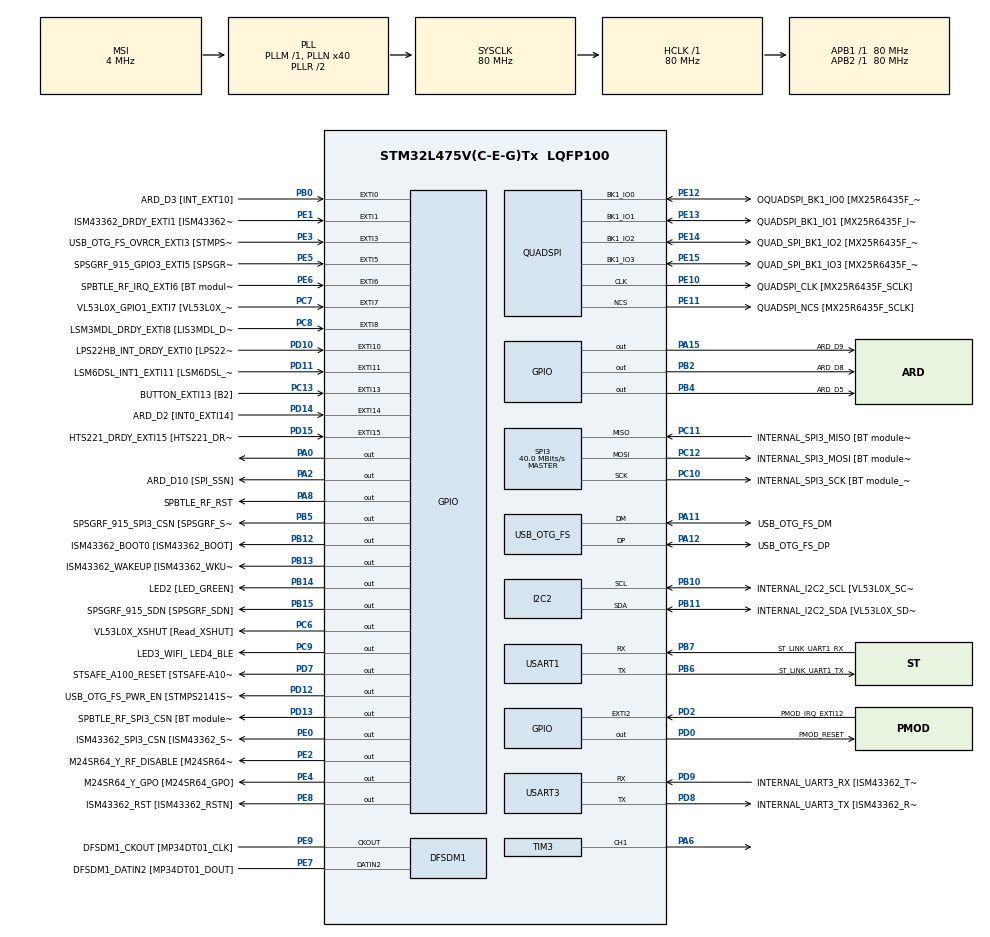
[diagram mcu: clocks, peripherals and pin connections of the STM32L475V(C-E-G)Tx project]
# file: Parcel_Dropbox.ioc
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Mcu.Family=STM32L4
Mcu.Name=STM32L475V(C-E-G)Tx
Mcu.Package=LQFP100
NVIC.EXTI15_10_IRQn=true\:6\:0\:true\:false\:true\:true\:true\:true
NVIC.EXTI1_IRQn=true\:0\:0\:false\:false\:true\:true\:true\:true
NVIC.EXTI9_5_IRQn=true\:0\:0\:false\:false\:true\:true\:true\:true
NVIC.PriorityGroup=NVIC_PRIORITYGROUP_4
NVIC.TIM6_DAC_IRQn=true\:15\:0\:false\:false\:true\:false\:true\:true
NVIC.TimeBase=TIM6_DAC_IRQn
NVIC.TimeBaseIP=TIM6
PA0.Signal=GPIO_Output
PA1.GPIO_Label=ARD_D0 [UART4_RX]
PA1.Signal=UART4_RX
PA10.GPIO_Label=USB_OTG_FS_ID
PA10.Signal=USB_OTG_FS_ID
PA11.GPIO_Label=USB_OTG_FS_DM
PA11.Mode=Device_Only
PA11.Signal=USB_OTG_FS_DM
PA12.GPIO_Label=USB_OTG_FS_DP
PA12.Mode=Device_Only
PA12.Signal=USB_OTG_FS_DP
PA13\ (JTMS-SWDIO).GPIO_Label=SYS_JTMS_SWDIO
PA13\ (JTMS-SWDIO).Mode=Trace_Asynchronous_SW
PA13\ (JTMS-SWDIO).Signal=SYS_JTMS-SWDIO
PA14\ (JTCK-SWCLK).GPIO_Label=SYS_JTCK_SWCLK
PA14\ (JTCK-SWCLK).Mode=Trace_Asynchronous_SW
PA14\ (JTCK-SWCLK).Signal=SYS_JTCK-SWCLK
PA15\ (JTDI).GPIO_Label=ARD_D9
PA15\ (JTDI).Signal=GPIO_Output
PA2.GPIO_Label=ARD_D10 [SPI_SSN]
PA2.Signal=GPIO_Output
PA3.GPIO_Label=ARD_D4
PA3.Signal=S_TIM2_CH4
PA4.GPIO_Label=ARD_D7
PA4.Signal=ADCx_IN9
PA5.GPIO_Label=ARD_D13 [SPI1_SCK]
PA5.Signal=SPI1_SCK
PA6.GPIO_Speed=GPIO_SPEED_FREQ_HIGH
PA6.Signal=S_TIM3_CH1
PA7.GPIO_Label=ARD_D11 [SPI1_MOSI]
PA7.Signal=SPI1_MOSI
PA8.GPIO_Label=SPBTLE_RF_RST
PA8.Signal=GPIO_Output
PA9.GPIO_Label=USB_OTG_FS_VBUS [STMPS2141STR_OUT]
PA9.Signal=USB_OTG_FS_VBUS
PB0.GPIO_Label=ARD_D3 [INT_EXT10]
PB0.Signal=GPXTI0
PB1.GPIO_Label=ARD_D6 [ADC1_IN6]
PB1.Signal=ADCx_IN16
PB10.GPIO_Label=INTERNAL_I2C2_SCL [VL53L0X_SCL]
PB10.GPIO_Pu=GPIO_PULLUP
PB10.Mode=I2C
PB10.Signal=I2C2_SCL
PB11.GPIO_Label=INTERNAL_I2C2_SDA [VL53L0X_SDA]
PB11.GPIO_Pu=GPIO_PULLUP
PB11.Mode=I2C
PB11.Signal=I2C2_SDA
PB12.GPIO_Label=ISM43362_BOOT0 [ISM43362_BOOT]
PB12.Signal=GPIO_Output
PB13.GPIO_Label=ISM43362_WAKEUP [ISM43362_WKUP]
PB13.Signal=GPIO_Output
PB14.GPIO_Label=LED2 [LED_GREEN]
PB14.Signal=GPIO_Output
PB15.GPIO_Label=SPSGRF_915_SDN [SPSGRF_SDN]
PB15.Signal=GPIO_Output
PB2.GPIO_Label=ARD_D8
PB2.Signal=GPIO_Output
PB3\ (JTDO-TRACESWO).GPIO_Label=SYS_JTD0_SWO
PB3\ (JTDO-TRACESWO).Mode=Trace_Asynchronous_SW
PB3\ (JTDO-TRACESWO).Signal=SYS_JTDO-SWO
PB4\ (NJTRST).GPIO_Label=ARD_D5
PB4\ (NJTRST).Signal=GPIO_Output
PB5.GPIO_Label=SPSGRF_915_SPI3_CSN [SPSGRF_SPI_CS]
PB5.PinState=GPIO_PIN_SET
PB5.Signal=GPIO_Output
PB6.GPIO_Label=ST_LINK_UART1_TX
PB6.Mode=Asynchronous
PB6.Signal=USART1_TX
PB7.GPIO_Label=ST_LINK_UART1_RX
PB7.Mode=Asynchronous
PB7.Signal=USART1_RX
PB8.GPIO_Label=ARD_D15 [I2C1_SCL]
PB8.Signal=I2C1_SCL
PB9.GPIO_Label=ARD_D14 [I2C1_SDA]
PB9.Signal=I2C1_SDA
PC0.GPIO_Label=ARD_A5 [ADC]
PC0.Signal=ADCx_IN1
PC1.GPIO_Label=ARD_A4 [ADC]
PC1.Signal=ADCx_IN2
PC10.GPIO_Label=INTERNAL_SPI3_SCK [BT module_SPI_SCLK] [ISM43362_SCK]
PC10.Mode=Full_Duplex_Master
PC10.Signal=SPI3_SCK
PC11.GPIO_Label=INTERNAL_SPI3_MISO [BT module_SPI_MISO] [ISM43362_MISO]
PC11.Mode=Full_Duplex_Master
PC11.Signal=SPI3_MISO
PC12.GPIO_Label=INTERNAL_SPI3_MOSI [BT module_SPI_MOSI] [ISM43362_MOSI]
PC12.Mode=Full_Duplex_Master
PC12.Signal=SPI3_MOSI
PC13.GPIO_Label=BUTTON_EXTI13 [B2]
PC13.GPIO_ModeDefaultEXTI=GPIO_MODE_IT_FALLING
PC13.Signal=GPXTI13
PC14-OSC32_IN\ (PC14).Mode=LSE-External-Oscillator
PC14-OSC32_IN\ (PC14).Signal=RCC_OSC32_IN
PC15-OSC32_OUT\ (PC15).Mode=LSE-External-Oscillator
PC15-OSC32_OUT\ (PC15).Signal=RCC_OSC32_OUT
PC2.GPIO_Label=ARD_A3 [ADC]
PC2.Signal=ADCx_IN3
PC3.GPIO_Label=ARD_A2 [ADC]
PC3.Signal=ADCx_IN4
PC4.GPIO_Label=ARD_A1 [ADC]
PC4.Signal=ADCx_IN13
PC5.GPIO_Label=ARD_A0 [ADC]
PC5.Signal=ADCx_IN14
PC6.GPIO_Label=VL53L0X_XSHUT [Read_XSHUT]
PC6.Signal=GPIO_Output
PC7.GPIO_Label=VL53L0X_GPIO1_EXTI7 [VL53L0X_GPIO1]
PC7.Signal=GPXTI7
PC8.GPIO_Label=LSM3MDL_DRDY_EXTI8 [LIS3MDL_DRDY]
PC8.Signal=GPXTI8
PC9.GPIO_Label=LED3_WIFI_ LED4_BLE
PC9.Signal=GPIO_Output
PD0.GPIO_Label=PMOD_RESET
PD0.Signal=GPIO_Output
PD1.GPIO_Label=PMOD_SPI2_SCK
PD1.Signal=SPI2_SCK
PD10.GPIO_Label=LPS22HB_INT_DRDY_EXTI0 [LPS22HB_INT_DRDY] 
PD10.Signal=GPXTI10
PD11.GPIO_Label=LSM6DSL_INT1_EXTI11 [LSM6DSL_INT1]
PD11.GPIO_ModeDefaultEXTI=GPIO_MODE_IT_RISING_FALLING
PD11.Signal=GPXTI11
PD12.GPIO_Label=USB_OTG_FS_PWR_EN [STMPS2141STR_EN]
PD12.Signal=GPIO_Output
PD13.GPIO_Label=SPBTLE_RF_SPI3_CSN [BT module_SPI_CS]
PD13.PinState=GPIO_PIN_SET
PD13.Signal=GPIO_Output
PD14.GPIO_Label=ARD_D2 [INT0_EXTI14]
PD14.Signal=GPXTI14
PD15.GPIO_Label=HTS221_DRDY_EXTI15 [HTS221_DRDY]
PD15.Signal=GPXTI15
PD2.GPIO_Label=PMOD_IRQ_EXTI12
PD2.Signal=GPXTI2
PD3.GPIO_Label=PMOD_UART2_CTS
PD3.Signal=USART2_CTS
PD4.GPIO_Label=PMOD_UART2_RTS
PD4.Signal=USART2_RTS
PD5.GPIO_Label=PMOD_UART2_TX
PD5.Signal=USART2_TX
PD6.GPIO_Label=PMOD_UART2_RX
PD6.Signal=USART2_RX
PD7.GPIO_Label=STSAFE_A100_RESET [STSAFE-A100_RESET]
PD7.Signal=GPIO_Output
PD8.GPIO_Label=INTERNAL_UART3_TX [ISM43362_RX]
PD8.Mode=Asynchronous
PD8.Signal=USART3_TX
PD9.GPIO_Label=INTERNAL_UART3_RX [ISM43362_TX]
PD9.Mode=Asynchronous
PD9.Signal=USART3_RX
PE0.GPIO_Label=ISM43362_SPI3_CSN [ISM43362_SSN]
PE0.PinState=GPIO_PIN_SET
PE0.Signal=GPIO_Output
PE1.GPIO_Label=ISM43362_DRDY_EXTI1 [ISM43362_DATARDY]
PE1.Signal=GPXTI1
PE10.GPIO_Label=QUADSPI_CLK [MX25R6435F_SCLK]
PE10.Mode=Single Bank
PE10.Signal=QUADSPI_CLK
PE11.GPIO_Label=QUADSPI_NCS [MX25R6435F_SCLK]
PE11.Mode=Single Bank
PE11.Signal=QUADSPI_NCS
PE12.GPIO_Label=OQUADSPI_BK1_IO0 [MX25R6435F_IO0]
PE12.Mode=Single Bank
PE12.Signal=QUADSPI_BK1_IO0
PE13.GPIO_Label=QUADSPI_BK1_IO1 [MX25R6435F_IO1]
PE13.Mode=Single Bank
PE13.Signal=QUADSPI_BK1_IO1
PE14.GPIO_Label=QUAD_SPI_BK1_IO2 [MX25R6435F_IO2]
PE14.Mode=Single Bank
PE14.Signal=QUADSPI_BK1_IO2
PE15.GPIO_Label=QUAD_SPI_BK1_IO3 [MX25R6435F_IO3]
PE15.Mode=Single Bank
PE15.Signal=QUADSPI_BK1_IO3
PE2.GPIO_Label=M24SR64_Y_RF_DISABLE [M24SR64_RFDIS]
PE2.Signal=GPIO_Output
PE3.GPIO_Label=USB_OTG_FS_OVRCR_EXTI3 [STMPS2141STR_FAULT]
PE3.Signal=GPXTI3
PE4.GPIO_Label=M24SR64_Y_GPO [M24SR64_GPO]
PE4.Signal=GPIO_Output
PE5.GPIO_Label=SPSGRF_915_GPIO3_EXTI5 [SPSGRF_GPIO_3]
PE5.Signal=GPXTI5
PE6.GPIO_Label=SPBTLE_RF_IRQ_EXTI6 [BT module_SPI_IRQ]
PE6.Signal=GPXTI6
PE7.GPIO_Label=DFSDM1_DATIN2 [MP34DT01_DOUT]
PE7.Signal=S_DATAIN2DFSDM1
PE8.GPIO_Label=ISM43362_RST [ISM43362_RSTN]
PE8.Signal=GPIO_Output
PE9.GPIO_Label=DFSDM1_CKOUT [MP34DT01_CLK]
PE9.Signal=S_CKOUTDFSDM1
ProjectManager.HeapSize=0x200
ProjectManager.StackSize=0x400
ProjectManager.TargetToolchain=STM32CubeIDE
QUADSPI.ClockPrescaler=2
QUADSPI.FifoThreshold=4
QUADSPI.FlashSize=23
QUADSPI.SampleShifting=QSPI_SAMPLE_SHIFTING_HALFCYCLE
RCC.ADCFreq_Value=48000000
RCC.AHBFreq_Value=80000000
RCC.APB1Freq_Value=80000000
RCC.APB1TimFreq_Value=80000000
RCC.APB2Freq_Value=80000000
RCC.APB2TimFreq_Value=80000000
RCC.CortexFreq_Value=80000000
RCC.HCLKFreq_Value=80000000
RCC.HSE_VALUE=8000000
RCC.HSI_VALUE=16000000
RCC.MSI_VALUE=4000000
RCC.PLLN=40
RCC.PLLSAI1N=24
RCC.SYSCLKFreq_VALUE=80000000
RCC.SYSCLKSource=RCC_SYSCLKSOURCE_PLLCLK
RCC.USBFreq_Value=48000000
RCC.VCOOutputFreq_Value=160000000
SH.ADCx_IN1.0=ADC1_IN1
SH.ADCx_IN13.0=ADC1_IN13
SH.ADCx_IN14.0=ADC1_IN14
SH.ADCx_IN16.0=ADC1_IN16
SH.ADCx_IN2.0=ADC1_IN2
SH.ADCx_IN3.0=ADC1_IN3
SH.ADCx_IN4.0=ADC1_IN4
SH.ADCx_IN9.0=ADC1_IN9
SH.S_CKOUTDFSDM1.0=DFSDM1_CKOUT,CKOUT
SH.S_CKOUTDFSDM1.1=DFSDM1_CKOUT,PDM_SPI_Input_from_ch12_and_Internal_Clock
SH.S_DATAIN2DFSDM1.0=DFSDM1_DATIN2,PDM_SPI_Input_from_ch12_and_Internal_Clock
SH.S_TIM2_CH4.0=TIM2_CH4
SH.S_TIM3_CH1.0=TIM3_CH1,PWM Generation1 CH1
SPI3.CalculateBaudRate=40.0 MBits/s
SPI3.Direction=SPI_DIRECTION_2LINES
SPI3.Mode=SPI_MODE_MASTER
SPI3.VirtualType=VM_MASTER
TIM16.Period=499
TIM16.Prescaler=79
TIM3.Channel-PWM\ Generation1\ CH1=TIM_CHANNEL_1
TIM3.Period=499
TIM3.Prescaler=79
TIM3.Pulse-PWM\ Generation1\ CH1=249
USART1.VirtualMode-Asynchronous=VM_ASYNC
USART3.VirtualMode-Asynchronous=VM_ASYNC
USB_OTG_FS.VirtualMode=Device_Only
VP_SYS_VS_tim6.Mode=TIM6
VP_TIM16_VS_ClockSourceINT.Mode=Enable_Timer
board=B-L475E-IOT01A1

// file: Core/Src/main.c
/* USER CODE BEGIN Header */
/**
  ******************************************************************************
  * @file           : main.c
  * @brief          : Main program body
  ******************************************************************************
  * @attention
  *
  * Copyright (c) 2025 STMicroelectronics.
  * All rights reserved.
  *
  * This software is licensed under terms that can be found in the LICENSE file
  * in the root directory of this software component.
  * If no LICENSE file comes with this software, it is provided AS-IS.
  *
  ******************************************************************************
  */
/* USER CODE END Header */
#include "main.h"

/* USER CODE BEGIN Includes */
#include "../../Drivers/B-L475E-IOT01/stm32l475e_iot01_tsensor.h"
#include <math.h>
/* USER CODE END Includes */

DFSDM_Channel_HandleTypeDef hdfsdm1_channel1;

I2C_HandleTypeDef hi2c2;

QSPI_HandleTypeDef hqspi;

SPI_HandleTypeDef hspi3;

TIM_HandleTypeDef htim3;
TIM_HandleTypeDef htim16;

UART_HandleTypeDef huart1;
UART_HandleTypeDef huart3;

PCD_HandleTypeDef hpcd_USB_OTG_FS;

/* USER CODE BEGIN PV */

enum State {
	DISARMED,
	ARMED,
	ALARM
};
const char *StateName[] = {"DISARMED", "ARMED", "ALARM"};

enum State state = DISARMED;
int password;

int16_t DataXYZ[3];
int threshold = 10000;

/* USER CODE END PV */

void SystemClock_Config(void);
static void MX_GPIO_Init(void);
static void MX_DFSDM1_Init(void);
static void MX_I2C2_Init(void);
static void MX_QUADSPI_Init(void);
static void MX_SPI3_Init(void);
static void MX_USART1_UART_Init(void);
static void MX_USART3_UART_Init(void);
static void MX_USB_OTG_FS_PCD_Init(void);
static void MX_TIM16_Init(void);
static void MX_TIM3_Init(void);

/* USER CODE BEGIN 0 */
/* Private defines ----------------------------------------------------
-------*/
/* Update SSID and PASSWORD with own Access point settings */
#define SSID     "Eanut"
#define PASSWORD "Tempp@ssword"
#define PORT 80
#define TERMINAL_USE
#define WIFI_WRITE_TIMEOUT 10000
#define WIFI_READ_TIMEOUT 10000
#define SOCKET 0
#ifdef TERMINAL_USE
#define LOG(a) printf a
#else
#define LOG(a)
#endif

static uint8_t http[1024];
static uint8_t IP_Addr[4];
static int LedState = 0;

#if defined (TERMINAL_USE)
#ifdef __GNUC__
/* With GCC, small printf (option LD Linker->Libraries->Small printf
set to 'Yes') calls __io_putchar() */
#define PUTCHAR_PROTOTYPE int __io_putchar(int ch)
#else
#define PUTCHAR_PROTOTYPE int fputc(int ch, FILE *f)
#endif /* __GNUC__ */
#endif /* TERMINAL_USE */
void SystemClock_Config(void);
static WIFI_Status_t SendWebPage(uint8_t ledIsOn, uint8_t
temperature);
static int wifi_server(void);
static int wifi_start(void);
static int wifi_connect(void);
static bool WebServerProcess(void);
/* USER CODE END 0 */

int main(void)
{

  /* MCU Configuration--------------------------------------------------------*/

  /* Reset of all peripherals, Initializes the Flash interface and the Systick. */
  HAL_Init();

  /* Configure the system clock */
  SystemClock_Config();

  /* Initialize all configured peripherals */
  MX_GPIO_Init();
  MX_DFSDM1_Init();
  MX_I2C2_Init();
  MX_QUADSPI_Init();
  MX_SPI3_Init();
  MX_USART1_UART_Init();
  MX_USART3_UART_Init();
  MX_USB_OTG_FS_PCD_Init();
  MX_TIM16_Init();
  MX_TIM3_Init();
  /* USER CODE BEGIN 2 */
  BSP_TSENSOR_Init();
  BSP_ACCELERO_Init();
  /* USER CODE END 2 */

  /* Infinite loop */
  while (1)
  {

  }
}

void SystemClock_Config(void)
{
  RCC_OscInitTypeDef RCC_OscInitStruct = {0};
  RCC_ClkInitTypeDef RCC_ClkInitStruct = {0};

  /** Configure the main internal regulator output voltage
  */
  if (HAL_PWREx_ControlVoltageScaling(PWR_REGULATOR_VOLTAGE_SCALE1) != HAL_OK)
  {
    Error_Handler();
  }

  /** Configure LSE Drive Capability
  */
  HAL_PWR_EnableBkUpAccess();
  __HAL_RCC_LSEDRIVE_CONFIG(RCC_LSEDRIVE_LOW);

  /** Initializes the RCC Oscillators according to the specified parameters
  * in the RCC_OscInitTypeDef structure.
  */
  RCC_OscInitStruct.OscillatorType = RCC_OSCILLATORTYPE_LSE|RCC_OSCILLATORTYPE_MSI;
  RCC_OscInitStruct.LSEState = RCC_LSE_ON;
  RCC_OscInitStruct.MSIState = RCC_MSI_ON;
  RCC_OscInitStruct.MSICalibrationValue = 0;
  RCC_OscInitStruct.MSIClockRange = RCC_MSIRANGE_6;
  RCC_OscInitStruct.PLL.PLLState = RCC_PLL_ON;
  RCC_OscInitStruct.PLL.PLLSource = RCC_PLLSOURCE_MSI;
  RCC_OscInitStruct.PLL.PLLM = 1;
  RCC_OscInitStruct.PLL.PLLN = 40;
  RCC_OscInitStruct.PLL.PLLP = RCC_PLLP_DIV7;
  RCC_OscInitStruct.PLL.PLLQ = RCC_PLLQ_DIV2;
  RCC_OscInitStruct.PLL.PLLR = RCC_PLLR_DIV2;
  if (HAL_RCC_OscConfig(&RCC_OscInitStruct) != HAL_OK)
  {
    Error_Handler();
  }

  /** Initializes the CPU, AHB and APB buses clocks
  */
  RCC_ClkInitStruct.ClockType = RCC_CLOCKTYPE_HCLK|RCC_CLOCKTYPE_SYSCLK
                              |RCC_CLOCKTYPE_PCLK1|RCC_CLOCKTYPE_PCLK2;
  RCC_ClkInitStruct.SYSCLKSource = RCC_SYSCLKSOURCE_PLLCLK;
  RCC_ClkInitStruct.AHBCLKDivider = RCC_SYSCLK_DIV1;
  RCC_ClkInitStruct.APB1CLKDivider = RCC_HCLK_DIV1;
  RCC_ClkInitStruct.APB2CLKDivider = RCC_HCLK_DIV1;

  if (HAL_RCC_ClockConfig(&RCC_ClkInitStruct, FLASH_LATENCY_4) != HAL_OK)
  {
    Error_Handler();
  }

  /** Enable MSI Auto calibration
  */
  HAL_RCCEx_EnableMSIPLLMode();
}

static void MX_DFSDM1_Init(void)
{

  hdfsdm1_channel1.Instance = DFSDM1_Channel1;
  hdfsdm1_channel1.Init.OutputClock.Activation = ENABLE;
  hdfsdm1_channel1.Init.OutputClock.Selection = DFSDM_CHANNEL_OUTPUT_CLOCK_SYSTEM;
  hdfsdm1_channel1.Init.OutputClock.Divider = 2;
  hdfsdm1_channel1.Init.Input.Multiplexer = DFSDM_CHANNEL_EXTERNAL_INPUTS;
  hdfsdm1_channel1.Init.Input.DataPacking = DFSDM_CHANNEL_STANDARD_MODE;
  hdfsdm1_channel1.Init.Input.Pins = DFSDM_CHANNEL_FOLLOWING_CHANNEL_PINS;
  hdfsdm1_channel1.Init.SerialInterface.Type = DFSDM_CHANNEL_SPI_RISING;
  hdfsdm1_channel1.Init.SerialInterface.SpiClock = DFSDM_CHANNEL_SPI_CLOCK_INTERNAL;
  hdfsdm1_channel1.Init.Awd.FilterOrder = DFSDM_CHANNEL_FASTSINC_ORDER;
  hdfsdm1_channel1.Init.Awd.Oversampling = 1;
  hdfsdm1_channel1.Init.Offset = 0;
  hdfsdm1_channel1.Init.RightBitShift = 0x00;
  if (HAL_DFSDM_ChannelInit(&hdfsdm1_channel1) != HAL_OK)
  {
    Error_Handler();
  }

}

static void MX_I2C2_Init(void)
{

  hi2c2.Instance = I2C2;
  hi2c2.Init.Timing = 0x00000E14;
  hi2c2.Init.OwnAddress1 = 0;
  hi2c2.Init.AddressingMode = I2C_ADDRESSINGMODE_7BIT;
  hi2c2.Init.DualAddressMode = I2C_DUALADDRESS_DISABLE;
  hi2c2.Init.OwnAddress2 = 0;
  hi2c2.Init.OwnAddress2Masks = I2C_OA2_NOMASK;
  hi2c2.Init.GeneralCallMode = I2C_GENERALCALL_DISABLE;
  hi2c2.Init.NoStretchMode = I2C_NOSTRETCH_DISABLE;
  if (HAL_I2C_Init(&hi2c2) != HAL_OK)
  {
    Error_Handler();
  }

  /** Configure Analogue filter
  */
  if (HAL_I2CEx_ConfigAnalogFilter(&hi2c2, I2C_ANALOGFILTER_ENABLE) != HAL_OK)
  {
    Error_Handler();
  }

  /** Configure Digital filter
  */
  if (HAL_I2CEx_ConfigDigitalFilter(&hi2c2, 0) != HAL_OK)
  {
    Error_Handler();
  }

}

static void MX_QUADSPI_Init(void)
{

  /* QUADSPI parameter configuration*/
  hqspi.Instance = QUADSPI;
  hqspi.Init.ClockPrescaler = 2;
  hqspi.Init.FifoThreshold = 4;
  hqspi.Init.SampleShifting = QSPI_SAMPLE_SHIFTING_HALFCYCLE;
  hqspi.Init.FlashSize = 23;
  hqspi.Init.ChipSelectHighTime = QSPI_CS_HIGH_TIME_1_CYCLE;
  hqspi.Init.ClockMode = QSPI_CLOCK_MODE_0;
  if (HAL_QSPI_Init(&hqspi) != HAL_OK)
  {
    Error_Handler();
  }

}

static void MX_SPI3_Init(void)
{

  /* SPI3 parameter configuration*/
  hspi3.Instance = SPI3;
  hspi3.Init.Mode = SPI_MODE_MASTER;
  hspi3.Init.Direction = SPI_DIRECTION_2LINES;
  hspi3.Init.DataSize = SPI_DATASIZE_4BIT;
  hspi3.Init.CLKPolarity = SPI_POLARITY_LOW;
  hspi3.Init.CLKPhase = SPI_PHASE_1EDGE;
  hspi3.Init.NSS = SPI_NSS_SOFT;
  hspi3.Init.BaudRatePrescaler = SPI_BAUDRATEPRESCALER_2;
  hspi3.Init.FirstBit = SPI_FIRSTBIT_MSB;
  hspi3.Init.TIMode = SPI_TIMODE_DISABLE;
  hspi3.Init.CRCCalculation = SPI_CRCCALCULATION_DISABLE;
  hspi3.Init.CRCPolynomial = 7;
  hspi3.Init.CRCLength = SPI_CRC_LENGTH_DATASIZE;
  hspi3.Init.NSSPMode = SPI_NSS_PULSE_ENABLE;
  if (HAL_SPI_Init(&hspi3) != HAL_OK)
  {
    Error_Handler();
  }

}

static void MX_TIM3_Init(void)
{

  TIM_MasterConfigTypeDef sMasterConfig = {0};
  TIM_OC_InitTypeDef sConfigOC = {0};

  htim3.Instance = TIM3;
  htim3.Init.Prescaler = 79;
  htim3.Init.CounterMode = TIM_COUNTERMODE_UP;
  htim3.Init.Period = 499;
  htim3.Init.ClockDivision = TIM_CLOCKDIVISION_DIV1;
  htim3.Init.AutoReloadPreload = TIM_AUTORELOAD_PRELOAD_DISABLE;
  if (HAL_TIM_PWM_Init(&htim3) != HAL_OK)
  {
    Error_Handler();
  }
  sMasterConfig.MasterOutputTrigger = TIM_TRGO_RESET;
  sMasterConfig.MasterSlaveMode = TIM_MASTERSLAVEMODE_DISABLE;
  if (HAL_TIMEx_MasterConfigSynchronization(&htim3, &sMasterConfig) != HAL_OK)
  {
    Error_Handler();
  }
  sConfigOC.OCMode = TIM_OCMODE_PWM1;
  sConfigOC.Pulse = 249;
  sConfigOC.OCPolarity = TIM_OCPOLARITY_HIGH;
  sConfigOC.OCFastMode = TIM_OCFAST_DISABLE;
  if (HAL_TIM_PWM_ConfigChannel(&htim3, &sConfigOC, TIM_CHANNEL_1) != HAL_OK)
  {
    Error_Handler();
  }
  HAL_TIM_MspPostInit(&htim3);

}

static void MX_TIM16_Init(void)
{

  htim16.Instance = TIM16;
  htim16.Init.Prescaler = 79;
  htim16.Init.CounterMode = TIM_COUNTERMODE_UP;
  htim16.Init.Period = 499;
  htim16.Init.ClockDivision = TIM_CLOCKDIVISION_DIV1;
  htim16.Init.RepetitionCounter = 0;
  htim16.Init.AutoReloadPreload = TIM_AUTORELOAD_PRELOAD_DISABLE;
  if (HAL_TIM_Base_Init(&htim16) != HAL_OK)
  {
    Error_Handler();
  }

}

static void MX_USART1_UART_Init(void)
{

  huart1.Instance = USART1;
  huart1.Init.BaudRate = 115200;
  huart1.Init.WordLength = UART_WORDLENGTH_8B;
  huart1.Init.StopBits = UART_STOPBITS_1;
  huart1.Init.Parity = UART_PARITY_NONE;
  huart1.Init.Mode = UART_MODE_TX_RX;
  huart1.Init.HwFlowCtl = UART_HWCONTROL_NONE;
  huart1.Init.OverSampling = UART_OVERSAMPLING_16;
  huart1.Init.OneBitSampling = UART_ONE_BIT_SAMPLE_DISABLE;
  huart1.AdvancedInit.AdvFeatureInit = UART_ADVFEATURE_NO_INIT;
  if (HAL_UART_Init(&huart1) != HAL_OK)
  {
    Error_Handler();
  }

}

static void MX_USART3_UART_Init(void)
{

  huart3.Instance = USART3;
  huart3.Init.BaudRate = 115200;
  huart3.Init.WordLength = UART_WORDLENGTH_8B;
  huart3.Init.StopBits = UART_STOPBITS_1;
  huart3.Init.Parity = UART_PARITY_NONE;
  huart3.Init.Mode = UART_MODE_TX_RX;
  huart3.Init.HwFlowCtl = UART_HWCONTROL_NONE;
  huart3.Init.OverSampling = UART_OVERSAMPLING_16;
  huart3.Init.OneBitSampling = UART_ONE_BIT_SAMPLE_DISABLE;
  huart3.AdvancedInit.AdvFeatureInit = UART_ADVFEATURE_NO_INIT;
  if (HAL_UART_Init(&huart3) != HAL_OK)
  {
    Error_Handler();
  }

}

static void MX_USB_OTG_FS_PCD_Init(void)
{

  hpcd_USB_OTG_FS.Instance = USB_OTG_FS;
  hpcd_USB_OTG_FS.Init.dev_endpoints = 6;
  hpcd_USB_OTG_FS.Init.speed = PCD_SPEED_FULL;
  hpcd_USB_OTG_FS.Init.phy_itface = PCD_PHY_EMBEDDED;
  hpcd_USB_OTG_FS.Init.Sof_enable = DISABLE;
  hpcd_USB_OTG_FS.Init.low_power_enable = DISABLE;
  hpcd_USB_OTG_FS.Init.lpm_enable = DISABLE;
  hpcd_USB_OTG_FS.Init.battery_charging_enable = DISABLE;
  hpcd_USB_OTG_FS.Init.use_dedicated_ep1 = DISABLE;
  hpcd_USB_OTG_FS.Init.vbus_sensing_enable = DISABLE;
  if (HAL_PCD_Init(&hpcd_USB_OTG_FS) != HAL_OK)
  {
    Error_Handler();
  }

}

static void MX_GPIO_Init(void)
{
  GPIO_InitTypeDef GPIO_InitStruct = {0};

  /* GPIO Ports Clock Enable */
  __HAL_RCC_GPIOE_CLK_ENABLE();
  __HAL_RCC_GPIOC_CLK_ENABLE();
  __HAL_RCC_GPIOA_CLK_ENABLE();
  __HAL_RCC_GPIOB_CLK_ENABLE();
  __HAL_RCC_GPIOD_CLK_ENABLE();

  /*Configure GPIO pin Output Level */
  HAL_GPIO_WritePin(GPIOE, M24SR64_Y_RF_DISABLE_Pin|M24SR64_Y_GPO_Pin|ISM43362_RST_Pin, GPIO_PIN_RESET);

  /*Configure GPIO pin Output Level */
  HAL_GPIO_WritePin(GPIOA, GPIO_PIN_0|ARD_D10_Pin|SPBTLE_RF_RST_Pin|ARD_D9_Pin, GPIO_PIN_RESET);

  /*Configure GPIO pin Output Level */
  HAL_GPIO_WritePin(GPIOB, ARD_D8_Pin|ISM43362_BOOT0_Pin|ISM43362_WAKEUP_Pin|LED2_Pin
                          |SPSGRF_915_SDN_Pin|ARD_D5_Pin, GPIO_PIN_RESET);

  /*Configure GPIO pin Output Level */
  HAL_GPIO_WritePin(GPIOD, USB_OTG_FS_PWR_EN_Pin|PMOD_RESET_Pin|STSAFE_A100_RESET_Pin, GPIO_PIN_RESET);

  /*Configure GPIO pin Output Level */
  HAL_GPIO_WritePin(SPBTLE_RF_SPI3_CSN_GPIO_Port, SPBTLE_RF_SPI3_CSN_Pin, GPIO_PIN_SET);

  /*Configure GPIO pin Output Level */
  HAL_GPIO_WritePin(GPIOC, VL53L0X_XSHUT_Pin|LED3_WIFI__LED4_BLE_Pin, GPIO_PIN_RESET);

  /*Configure GPIO pin Output Level */
  HAL_GPIO_WritePin(SPSGRF_915_SPI3_CSN_GPIO_Port, SPSGRF_915_SPI3_CSN_Pin, GPIO_PIN_SET);

  /*Configure GPIO pin Output Level */
  HAL_GPIO_WritePin(ISM43362_SPI3_CSN_GPIO_Port, ISM43362_SPI3_CSN_Pin, GPIO_PIN_SET);

  /*Configure GPIO pins : M24SR64_Y_RF_DISABLE_Pin M24SR64_Y_GPO_Pin ISM43362_RST_Pin ISM43362_SPI3_CSN_Pin */
  GPIO_InitStruct.Pin = M24SR64_Y_RF_DISABLE_Pin|M24SR64_Y_GPO_Pin|ISM43362_RST_Pin|ISM43362_SPI3_CSN_Pin;
  GPIO_InitStruct.Mode = GPIO_MODE_OUTPUT_PP;
  GPIO_InitStruct.Pull = GPIO_NOPULL;
  GPIO_InitStruct.Speed = GPIO_SPEED_FREQ_LOW;
  HAL_GPIO_Init(GPIOE, &GPIO_InitStruct);

  /*Configure GPIO pins : USB_OTG_FS_OVRCR_EXTI3_Pin SPSGRF_915_GPIO3_EXTI5_Pin SPBTLE_RF_IRQ_EXTI6_Pin ISM43362_DRDY_EXTI1_Pin */
  GPIO_InitStruct.Pin = USB_OTG_FS_OVRCR_EXTI3_Pin|SPSGRF_915_GPIO3_EXTI5_Pin|SPBTLE_RF_IRQ_EXTI6_Pin|ISM43362_DRDY_EXTI1_Pin;
  GPIO_InitStruct.Mode = GPIO_MODE_IT_RISING;
  GPIO_InitStruct.Pull = GPIO_NOPULL;
  HAL_GPIO_Init(GPIOE, &GPIO_InitStruct);

  /*Configure GPIO pin : BUTTON_EXTI13_Pin */
  GPIO_InitStruct.Pin = BUTTON_EXTI13_Pin;
  GPIO_InitStruct.Mode = GPIO_MODE_IT_FALLING;
  GPIO_InitStruct.Pull = GPIO_NOPULL;
  HAL_GPIO_Init(BUTTON_EXTI13_GPIO_Port, &GPIO_InitStruct);

  /*Configure GPIO pins : ARD_A5_Pin ARD_A4_Pin ARD_A3_Pin ARD_A2_Pin
                           ARD_A1_Pin ARD_A0_Pin */
  GPIO_InitStruct.Pin = ARD_A5_Pin|ARD_A4_Pin|ARD_A3_Pin|ARD_A2_Pin
                          |ARD_A1_Pin|ARD_A0_Pin;
  GPIO_InitStruct.Mode = GPIO_MODE_ANALOG_ADC_CONTROL;
  GPIO_InitStruct.Pull = GPIO_NOPULL;
  HAL_GPIO_Init(GPIOC, &GPIO_InitStruct);

  /*Configure GPIO pins : PA0 ARD_D10_Pin SPBTLE_RF_RST_Pin ARD_D9_Pin */
  GPIO_InitStruct.Pin = GPIO_PIN_0|ARD_D10_Pin|SPBTLE_RF_RST_Pin|ARD_D9_Pin;
  GPIO_InitStruct.Mode = GPIO_MODE_OUTPUT_PP;
  GPIO_InitStruct.Pull = GPIO_NOPULL;
  GPIO_InitStruct.Speed = GPIO_SPEED_FREQ_LOW;
  HAL_GPIO_Init(GPIOA, &GPIO_InitStruct);

  /*Configure GPIO pin : ARD_D0_Pin */
  GPIO_InitStruct.Pin = ARD_D0_Pin;
  GPIO_InitStruct.Mode = GPIO_MODE_AF_PP;
  GPIO_InitStruct.Pull = GPIO_NOPULL;
  GPIO_InitStruct.Speed = GPIO_SPEED_FREQ_VERY_HIGH;
  GPIO_InitStruct.Alternate = GPIO_AF8_UART4;
  HAL_GPIO_Init(ARD_D0_GPIO_Port, &GPIO_InitStruct);

  /*Configure GPIO pin : ARD_D4_Pin */
  GPIO_InitStruct.Pin = ARD_D4_Pin;
  GPIO_InitStruct.Mode = GPIO_MODE_AF_PP;
  GPIO_InitStruct.Pull = GPIO_NOPULL;
  GPIO_InitStruct.Speed = GPIO_SPEED_FREQ_LOW;
  GPIO_InitStruct.Alternate = GPIO_AF1_TIM2;
  HAL_GPIO_Init(ARD_D4_GPIO_Port, &GPIO_InitStruct);

  /*Configure GPIO pin : ARD_D7_Pin */
  GPIO_InitStruct.Pin = ARD_D7_Pin;
  GPIO_InitStruct.Mode = GPIO_MODE_ANALOG_ADC_CONTROL;
  GPIO_InitStruct.Pull = GPIO_NOPULL;
  HAL_GPIO_Init(ARD_D7_GPIO_Port, &GPIO_InitStruct);

  /*Configure GPIO pins : ARD_D13_Pin ARD_D11_Pin */
  GPIO_InitStruct.Pin = ARD_D13_Pin|ARD_D11_Pin;
  GPIO_InitStruct.Mode = GPIO_MODE_AF_PP;
  GPIO_InitStruct.Pull = GPIO_NOPULL;
  GPIO_InitStruct.Speed = GPIO_SPEED_FREQ_VERY_HIGH;
  GPIO_InitStruct.Alternate = GPIO_AF5_SPI1;
  HAL_GPIO_Init(GPIOA, &GPIO_InitStruct);

  /*Configure GPIO pin : ARD_D3_Pin */
  GPIO_InitStruct.Pin = ARD_D3_Pin;
  GPIO_InitStruct.Mode = GPIO_MODE_IT_RISING;
  GPIO_InitStruct.Pull = GPIO_NOPULL;
  HAL_GPIO_Init(ARD_D3_GPIO_Port, &GPIO_InitStruct);

  /*Configure GPIO pin : ARD_D6_Pin */
  GPIO_InitStruct.Pin = ARD_D6_Pin;
  GPIO_InitStruct.Mode = GPIO_MODE_ANALOG_ADC_CONTROL;
  GPIO_InitStruct.Pull = GPIO_NOPULL;
  HAL_GPIO_Init(ARD_D6_GPIO_Port, &GPIO_InitStruct);

  /*Configure GPIO pins : ARD_D8_Pin ISM43362_BOOT0_Pin ISM43362_WAKEUP_Pin LED2_Pin
                           SPSGRF_915_SDN_Pin ARD_D5_Pin SPSGRF_915_SPI3_CSN_Pin */
  GPIO_InitStruct.Pin = ARD_D8_Pin|ISM43362_BOOT0_Pin|ISM43362_WAKEUP_Pin|LED2_Pin
                          |SPSGRF_915_SDN_Pin|ARD_D5_Pin|SPSGRF_915_SPI3_CSN_Pin;
  GPIO_InitStruct.Mode = GPIO_MODE_OUTPUT_PP;
  GPIO_InitStruct.Pull = GPIO_NOPULL;
  GPIO_InitStruct.Speed = GPIO_SPEED_FREQ_LOW;
  HAL_GPIO_Init(GPIOB, &GPIO_InitStruct);

  /*Configure GPIO pins : LPS22HB_INT_DRDY_EXTI0_Pin ARD_D2_Pin HTS221_DRDY_EXTI15_Pin PMOD_IRQ_EXTI12_Pin */
  GPIO_InitStruct.Pin = LPS22HB_INT_DRDY_EXTI0_Pin|ARD_D2_Pin|HTS221_DRDY_EXTI15_Pin|PMOD_IRQ_EXTI12_Pin;
  GPIO_InitStruct.Mode = GPIO_MODE_IT_RISING;
  GPIO_InitStruct.Pull = GPIO_NOPULL;
  HAL_GPIO_Init(GPIOD, &GPIO_InitStruct);

  /*Configure GPIO pin : LSM6DSL_INT1_EXTI11_Pin */
  GPIO_InitStruct.Pin = LSM6DSL_INT1_EXTI11_Pin;
  GPIO_InitStruct.Mode = GPIO_MODE_IT_RISING_FALLING;
  GPIO_InitStruct.Pull = GPIO_NOPULL;
  HAL_GPIO_Init(LSM6DSL_INT1_EXTI11_GPIO_Port, &GPIO_InitStruct);

  /*Configure GPIO pins : USB_OTG_FS_PWR_EN_Pin SPBTLE_RF_SPI3_CSN_Pin PMOD_RESET_Pin STSAFE_A100_RESET_Pin */
  GPIO_InitStruct.Pin = USB_OTG_FS_PWR_EN_Pin|SPBTLE_RF_SPI3_CSN_Pin|PMOD_RESET_Pin|STSAFE_A100_RESET_Pin;
  GPIO_InitStruct.Mode = GPIO_MODE_OUTPUT_PP;
  GPIO_InitStruct.Pull = GPIO_NOPULL;
  GPIO_InitStruct.Speed = GPIO_SPEED_FREQ_LOW;
  HAL_GPIO_Init(GPIOD, &GPIO_InitStruct);

  /*Configure GPIO pins : VL53L0X_XSHUT_Pin LED3_WIFI__LED4_BLE_Pin */
  GPIO_InitStruct.Pin = VL53L0X_XSHUT_Pin|LED3_WIFI__LED4_BLE_Pin;
  GPIO_InitStruct.Mode = GPIO_MODE_OUTPUT_PP;
  GPIO_InitStruct.Pull = GPIO_NOPULL;
  GPIO_InitStruct.Speed = GPIO_SPEED_FREQ_LOW;
  HAL_GPIO_Init(GPIOC, &GPIO_InitStruct);

  /*Configure GPIO pins : VL53L0X_GPIO1_EXTI7_Pin LSM3MDL_DRDY_EXTI8_Pin */
  GPIO_InitStruct.Pin = VL53L0X_GPIO1_EXTI7_Pin|LSM3MDL_DRDY_EXTI8_Pin;
  GPIO_InitStruct.Mode = GPIO_MODE_IT_RISING;
  GPIO_InitStruct.Pull = GPIO_NOPULL;
  HAL_GPIO_Init(GPIOC, &GPIO_InitStruct);

  /*Configure GPIO pin : PMOD_SPI2_SCK_Pin */
  GPIO_InitStruct.Pin = PMOD_SPI2_SCK_Pin;
  GPIO_InitStruct.Mode = GPIO_MODE_AF_PP;
  GPIO_InitStruct.Pull = GPIO_NOPULL;
  GPIO_InitStruct.Speed = GPIO_SPEED_FREQ_VERY_HIGH;
  GPIO_InitStruct.Alternate = GPIO_AF5_SPI2;
  HAL_GPIO_Init(PMOD_SPI2_SCK_GPIO_Port, &GPIO_InitStruct);

  /*Configure GPIO pins : PMOD_UART2_CTS_Pin PMOD_UART2_RTS_Pin PMOD_UART2_TX_Pin PMOD_UART2_RX_Pin */
  GPIO_InitStruct.Pin = PMOD_UART2_CTS_Pin|PMOD_UART2_RTS_Pin|PMOD_UART2_TX_Pin|PMOD_UART2_RX_Pin;
  GPIO_InitStruct.Mode = GPIO_MODE_AF_PP;
  GPIO_InitStruct.Pull = GPIO_NOPULL;
  GPIO_InitStruct.Speed = GPIO_SPEED_FREQ_VERY_HIGH;
  GPIO_InitStruct.Alternate = GPIO_AF7_USART2;
  HAL_GPIO_Init(GPIOD, &GPIO_InitStruct);

  /*Configure GPIO pins : ARD_D15_Pin ARD_D14_Pin */
  GPIO_InitStruct.Pin = ARD_D15_Pin|ARD_D14_Pin;
  GPIO_InitStruct.Mode = GPIO_MODE_AF_OD;
  GPIO_InitStruct.Pull = GPIO_NOPULL;
  GPIO_InitStruct.Speed = GPIO_SPEED_FREQ_VERY_HIGH;
  GPIO_InitStruct.Alternate = GPIO_AF4_I2C1;
  HAL_GPIO_Init(GPIOB, &GPIO_InitStruct);

  /* EXTI interrupt init*/
  HAL_NVIC_SetPriority(EXTI1_IRQn, 0, 0);
  HAL_NVIC_EnableIRQ(EXTI1_IRQn);

  HAL_NVIC_SetPriority(EXTI9_5_IRQn, 0, 0);
  HAL_NVIC_EnableIRQ(EXTI9_5_IRQn);

  HAL_NVIC_SetPriority(EXTI15_10_IRQn, 6, 0);
  HAL_NVIC_EnableIRQ(EXTI15_10_IRQn);

}

/* USER CODE BEGIN 4 */
static int wifi_start(void)
{
uint8_t MAC_Addr[6];
/*Initialize and use WIFI module */
if(WIFI_Init() == WIFI_STATUS_OK)
{
printf("ES-WIFI Initialized.\n");
if(WIFI_GetMAC_Address(MAC_Addr, sizeof(MAC_Addr)) ==
WIFI_STATUS_OK)
{
		printf("> eS-WiFi module MAC Address : %02X:%02X:%02X:%02X:%02X:%02X\n",
MAC_Addr[0],
MAC_Addr[1],
MAC_Addr[2],
MAC_Addr[3],
MAC_Addr[4],
MAC_Addr[5]);
}
else
{
LOG(("> ERROR : CANNOT get MAC address\n"));
return -1;
}
}
else
{
return -1;
}
return 0;
}

int wifi_connect(void)
{
wifi_start();
printf("\nConnecting to %s , %s\n",SSID,PASSWORD);
if( WIFI_Connect(SSID, PASSWORD, WIFI_ECN_WPA2_PSK) ==
WIFI_STATUS_OK)
{
if(WIFI_GetIP_Address(IP_Addr, sizeof(IP_Addr)) == WIFI_STATUS_OK)
{
LOG(("> es-wifi module connected: got IP Address : %d.%d.%d.%d\n",
IP_Addr[0],
IP_Addr[1],
IP_Addr[2],
IP_Addr[3]));
int len = 100;
uint8_t buffer[len];
snprintf(buffer, sizeof(buffer), "es-wifi module connected: got IP Address : %d.%d.%d.%d\n", IP_Addr[0],
IP_Addr[1],
IP_Addr[2],
IP_Addr[3] );
buffer[len-1] = '\0';
HAL_UART_Transmit(&huart1, buffer, strlen(buffer), 100);
}
else
{
LOG((" ERROR : es-wifi module CANNOT get IP address\n"));
return -1;
}
}
else
{
LOG(("ERROR : es-wifi module NOT connected\n"));
return -1;
}
return 0;
}

int wifi_server(void)
{
bool StopServer = false;
LOG(("\nRunning HTML Server test\n"));
if (wifi_connect()!=0) return -1;
if (WIFI_STATUS_OK!=WIFI_StartServer(SOCKET, WIFI_TCP_PROTOCOL, 1,
"", PORT))
{
LOG(("ERROR: Cannot start server.\n"));
}
LOG(("Server is running and waiting for an HTTP Client connection to%d.%d.%d.%d\n",IP_Addr[0],IP_Addr[1],IP_Addr[2],IP_Addr[3]));
do
{
uint8_t RemoteIP[4];
uint16_t RemotePort;
while (WIFI_STATUS_OK !=
WIFI_WaitServerConnection(SOCKET,1000,RemoteIP,sizeof(RemoteIP),
&RemotePort))
{
LOG(("Waiting connection to %d.%d.%d.%d\n",IP_Addr[0],IP_Addr[1],IP_Addr[2],IP_Addr[3]));
osThreadYield();
}
LOG(("Client connected %d.%d.%d.%d:%d\n",RemoteIP[0],RemoteIP[1],RemoteIP[2],RemoteIP[3],RemotePort));
StopServer=WebServerProcess();
if(WIFI_CloseServerConnection(SOCKET) != WIFI_STATUS_OK)
{
LOG(("ERROR: failed to close current Server connection\n"));
return -1;
}
}
while(StopServer == false);
if (WIFI_STATUS_OK!=WIFI_StopServer(SOCKET))
{
LOG(("ERROR: Cannot stop server.\n"));
}
LOG(("Server is stop\n"));
return 0;
}

static bool WebServerProcess(void)
{
	uint16_t respLen;
	static uint8_t resp[1024];
	bool stopserver=false;
	if (WIFI_STATUS_OK == WIFI_ReceiveData(SOCKET, resp, 1000, &respLen, WIFI_READ_TIMEOUT))
	{
		LOG(("get %d byte from server\n",respLen));
		if( respLen > 0)
		{
			if(strstr((char *)resp, "GET")) /* GET: put web page */
			{
				if(SendWebPage(LedState, (uint8_t)state) != WIFI_STATUS_OK)
				{
					LOG(("> ERROR : Cannot send web page\n"));
				}
				else
				{
					LOG(("Send page after GET command\n"));
				}
			}
			else if(strstr((char *)resp, "POST"))/* POST: received info */
			{
				LOG(("Post request\n"));
				if(strstr((char *)resp, "radio"))
				{
					if(strstr((char *)resp, "radio=0"))
					{
						LedState = 0;
						// BSP_LED_Off(LED2);
						HAL_GPIO_WritePin(GPIOB, GPIO_PIN_14, GPIO_PIN_RESET);
					}
					else if(strstr((char *)resp, "radio=1"))
					{
						LedState = 1;
						//BSP_LED_On(LED2);
						HAL_GPIO_WritePin(GPIOB, GPIO_PIN_14, GPIO_PIN_SET);
					}
					//temp = (int) BSP_TSENSOR_ReadTemp();
				}
				if(strstr((char *)resp, "stop_server"))
				{
					if(strstr((char *)resp, "stop_server=0"))
					{
						stopserver = false;
					}
					else if(strstr((char *)resp, "stop_server=1"))
					{
						stopserver = true;
					}
				}
				//temp = (int) BSP_TSENSOR_ReadTemp();
				if(SendWebPage(LedState, (uint8_t)state) != WIFI_STATUS_OK)
				{
					LOG(("> ERROR : Cannot send web page\n"));
				}
				else
				{
					LOG(("Send Page after POST command\n"));
				}
			}
		}
	}
	else
	{
		LOG(("Client close connection\n"));
	}
	return stopserver;
}

static WIFI_Status_t SendWebPage(uint8_t ledIsOn, uint8_t state)
{
	char *stateString[50];
	uint16_t SentDataLength;
	WIFI_Status_t ret;
	/* construct web page content */
	strcpy((char *)http, (char *)"HTTP/1.0 200 OK\r\nContent-Type:text/html\r\nPragma: no-cache\r\n\r\n");
	strcat((char *)http, (char *)"<html>\r\n<body>\r\n");
	strcat((char *)http, (char *)"<title>STM32 Web Server</title>\r\n");
	strcat((char *)http, (char *)"<h2>InventekSys : Web Server using Es-Wifi with STM32</h2>\r\n");
	strcat((char *)http, (char *)"<br /><hr>\r\n");
	strcat((char *)http, (char *)"<p><form method=\"POST\"><strong>State:<input type=\"text\" value=\"");
	sprintf((char *)stateString, "%s", StateName[state]);
	strcat((char *)http, (char *)stateString);
	strcat((char *)http, (char *)"\"> <sup>O</sup>C");
	if (ledIsOn)
	{
		strcat((char *)http, (char *)"<p><input type=\"radio\"name=\"radio\" value=\"0\" >RSG LED off");
		strcat((char *)http, (char *)"<br><input type=\"radio\"name=\"radio\" value=\"1\" checked>RSG LED on");
	}
	else
	{
		strcat((char *)http, (char *)"<p><input type=\"radio\"name=\"radio\" value=\"0\" checked>RSG LED off");
		strcat((char *)http, (char *)"<br><input type=\"radio\"name=\"radio\" value=\"1\" >RSG LED on");
	}
	strcat((char *)http, (char *)"</strong><p><inputtype=\"submit\"></form></span>");
	strcat((char *)http, (char *)"</body>\r\n</html>\r\n");
	ret = WIFI_SendData(0, (uint8_t *)http, strlen((char *)http),
	&SentDataLength, WIFI_WRITE_TIMEOUT);
	if((ret == WIFI_STATUS_OK) && (SentDataLength != strlen((char
	*)http)))
	{
	ret = WIFI_STATUS_ERROR;
	}
	return ret;
}
#if defined (TERMINAL_USE)
/**
* @brief Retargets the C library printf function to the USART.
* @param None
* @retval None
*/
PUTCHAR_PROTOTYPE
{
/* Place your implementation of fputc here */
/* e.g. write a character to the USART1 and Loop until the end of
transmission */
HAL_UART_Transmit(&huart1, (uint8_t *)&ch, 1, 0xFFFF);
return ch;
}
#endif /* TERMINAL_USE */

void HAL_GPIO_EXTI_Callback(uint16_t GPIO_Pin)
{
switch (GPIO_Pin)
{
case (GPIO_PIN_1):
{
SPI_WIFI_ISR();
break;
}
case (GPIO_PIN_13):
	{
	//int8_t msg = 1;
	//xQueueSendToBackFromISR(StateQHandle, &msg);
	//osSemaphoreRelease(ShakeSemaphoreHandle);
	osThreadFlagsSet(StateMachineHandle, 0x01);
	break;
	}
default:
{
break;
}
}
}
void SPI3_IRQHandler(void)
{
/* USER CODE BEGIN SPI3_IRQn 0 */
//
/* USER CODE END SPI3_IRQn 0 */
HAL_SPI_IRQHandler(&hspi);
/* USER CODE BEGIN SPI3_IRQn 1 */
//
/* USER CODE END SPI3_IRQn 1 */
}

/* USER CODE END 4 */

void HAL_TIM_PeriodElapsedCallback(TIM_HandleTypeDef *htim)
{
  if (htim->Instance == TIM6)
  {
    HAL_IncTick();
  }
}

void Error_Handler(void)
{
  __disable_irq();
  while (1)
  {
  }
}
